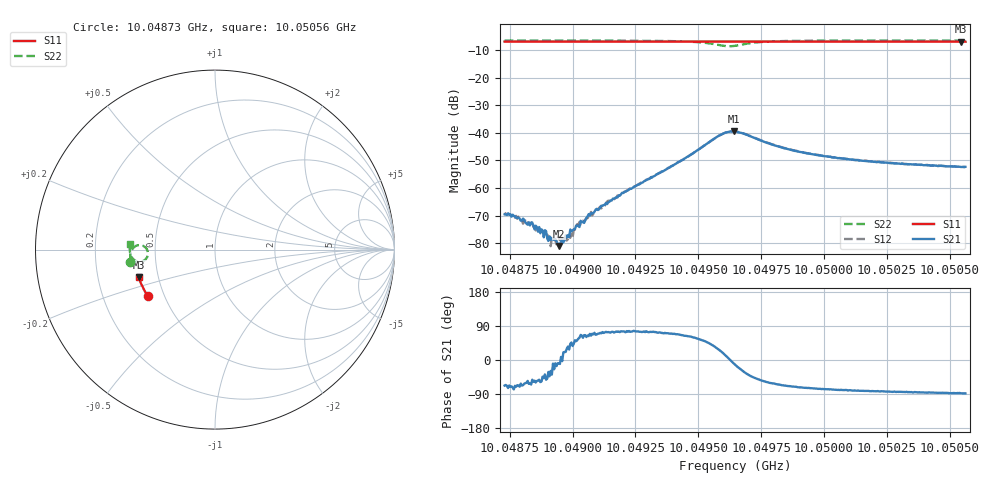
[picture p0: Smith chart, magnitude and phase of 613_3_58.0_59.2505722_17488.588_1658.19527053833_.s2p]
#  HZ  S  RI  R  50.00
! Rohde & Schwarz Vector Network Analyzer
! Rohde-Schwarz,ZNB20-2Port,1311601062101988,3.16
! Created: UTC 3/21/2024, 1:17:49 AM
! freq[Hz]  re:S11  im:S11  re:S21  im:S21  re:S12  im:S12  re:S22  im:S22
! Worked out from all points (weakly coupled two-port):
!   401 points, 10.04873 GHz to 10.05056 GHz, reference 50 ohm
!   highest |S21| = -39.44 dB at 10.04964 GHz (marker M1); lowest = -81.0 dB at 10.04894 GHz (marker M2)
!   lowest |S11| = -6.9 dB at 10.05054 GHz (marker M3), VSWR 2.65, Z = 19.3 - j7.47 ohm
!   |S11| at or under -10 dB: nowhere
!   |S22| runs from -8.5 to -6.4 dB; largest |S21 - S12| = 0.0008
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1.0048729e10  -0.3739 -0.2602  0.000128 -0.000307  0.000134 -0.00033  -0.4714 -0.0694
1.0048752e10  -0.3747 -0.2589  0.000108 -0.000317  0.000141 -0.000288  -0.4715 -0.0678
1.0048835e10  -0.3778 -0.2544  9.99e-05 -0.000212  0.000117 -0.000191  -0.4722 -0.0613
1.0048885e10  -0.3794 -0.2515  8.53e-05 -9.44e-05  0.000108 -9.95e-05  -0.4724 -0.0573
1.0048913e10  -0.3804 -0.25  9.89e-05 -5.43e-05  7.72e-05 -4.18e-05  -0.4725 -0.055
1.0048945e10  -0.3815 -0.2481  8.79e-05 -1.3e-05  0.000124 2.18e-05  -0.4726 -0.0524
1.0048959e10  -0.3821 -0.2473  0.000119 -6.24e-06  0.000123 3.4e-05  -0.4726 -0.0514
1.0048972e10  -0.3823 -0.2466  0.000129 5.01e-05  0.000111 5.79e-05  -0.4725 -0.05
1.0048991e10  -0.3831 -0.2457  0.000129 0.00012  0.000101 7.37e-05  -0.4726 -0.0484
1.0049018e10  -0.384 -0.2438  0.000127 0.000164  0.000125 0.00018  -0.4727 -0.0461
1.0049036e10  -0.3845 -0.243  0.000102 0.000216  9.96e-05 0.000219  -0.4725 -0.0444
1.0049069e10  -0.3855 -0.2412  0.000112 0.000292  0.000105 0.000294  -0.4727 -0.0415
1.0049147e10  -0.3884 -0.2366  0.000164 0.000541  0.000146 0.000556  -0.4723 -0.034
1.0049344e10  -0.3944 -0.2251  0.00056 0.00178  0.000434 0.0018  -0.4674 -0.01
1.0049587e10  -0.4011 -0.2106  0.00825 0.00382  0.00802 0.00435  -0.3909 0.0148
1.0049642e10  -0.4024 -0.2078  0.0105 -0.00174  0.0106 -0.00101  -0.3764 -0.0378
1.0049646e10  -0.4025 -0.2078  0.0104 -0.00224  0.0106 -0.00146  -0.3782 -0.0424
1.0049834e10  -0.4085 -0.197  0.00214 -0.00499  0.0025 -0.00484  -0.4618 -0.0458
1.0049953e10  -0.4117 -0.1898  0.00107 -0.00396  0.00134 -0.00391  -0.4707 -0.0266
1.0050261e10  -0.4194 -0.1712  0.000326 -0.00281  0.000484 -0.00283  -0.4752 0.00532
1.0050545e10  -0.4256 -0.1535  9.16e-05 -0.0024  0.00024 -0.00241  -0.4749 0.0282
1.0050563e10  -0.426 -0.1524  8.67e-05 -0.00241  0.000221 -0.00243  -0.4748 0.0295
